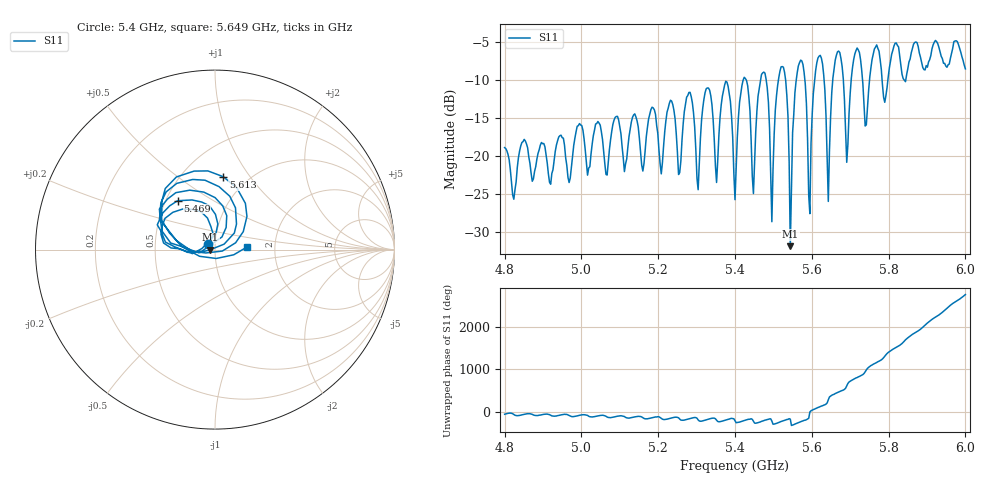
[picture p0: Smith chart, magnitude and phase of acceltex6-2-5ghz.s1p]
! NanoVNA-App
! Date: 2026-05-15 12:08:34
! Start: 4.8GHz Stop: 6GHz Points: 401
! S-Parameter data: F S11
# Hz S RI R 50
!  Frequency  S11_Real  S11_Imag
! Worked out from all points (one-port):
!   401 points, 4.8 GHz to 6 GHz, reference 50 ohm
!   lowest |S11| = -31.9 dB at 5.544 GHz (marker M1), VSWR 1.05, Z = 47.5 - j0.0384 ohm
!   |S11| at or under -10 dB: start of sweep to 5.422 GHz; 5.429 GHz to 5.467 GHz (37.94 MHz wide, 0.696 % of centre); 5.481 GHz to 5.513 GHz (32.05 MHz wide, 0.583 % of centre) (the widest 3 of 10)
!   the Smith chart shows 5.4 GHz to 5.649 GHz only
!   S11 on the Smith chart (normalised r, x): 5.4 GHz: 0.92, +0.06; 5.469 GHz: 0.58, +0.36; 5.613 GHz: 0.78, +0.76; 5.649 GHz: 1.44, +0.05
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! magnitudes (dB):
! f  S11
! 4.8 GHz  -18.9
! 4.95 GHz  -17.6
! 5.1 GHz  -16.2
! 5.25 GHz  -19.5
! 5.28 GHz  -11.7
! 5.304 GHz  -24.5
! 5.328 GHz  -11.1
! 5.352 GHz  -23.5
! 5.376 GHz  -10.2
! 5.4 GHz  -25.8
! 5.424 GHz  -9.7
! 5.448 GHz  -25.0
! 5.469 GHz  -9.3
! 5.496 GHz  -28.7
! 5.526 GHz  -8.3
! 5.544 GHz  -31.9
! 5.55 GHz  -17.0
! 5.571 GHz  -7.4
! 5.595 GHz  -27.6
! 5.613 GHz  -7.8
! 5.649 GHz  -14.9
! 5.667 GHz  -6.3
! 5.7 GHz  -11.8
! 5.718 GHz  -5.8
! 5.742 GHz  -15.9
! 5.766 GHz  -5.7
! 5.85 GHz  -8.5
! 6 GHz  -8.6
